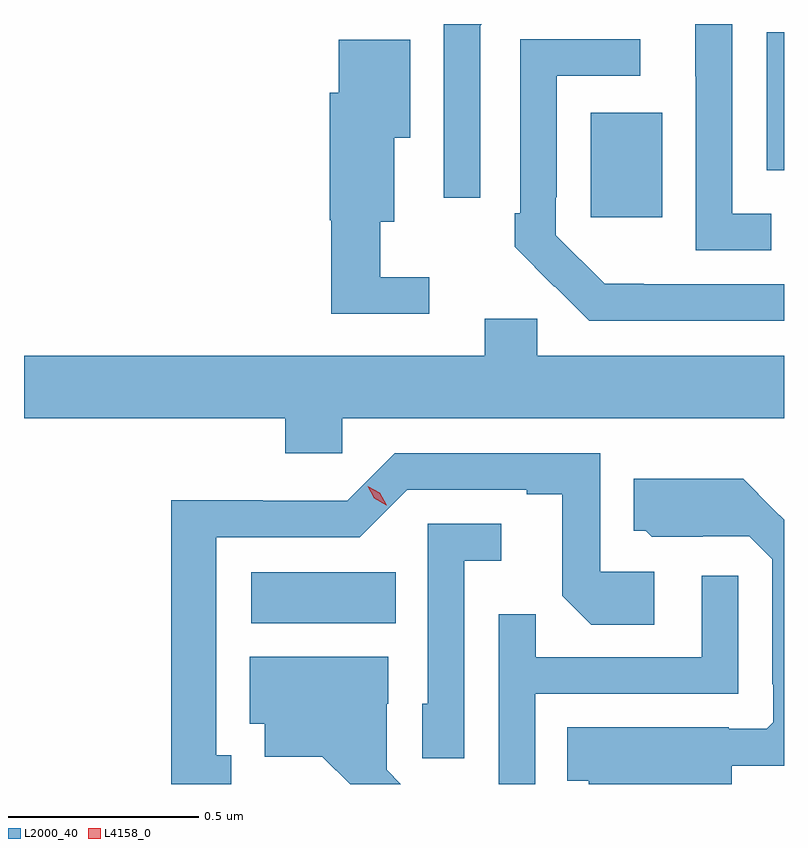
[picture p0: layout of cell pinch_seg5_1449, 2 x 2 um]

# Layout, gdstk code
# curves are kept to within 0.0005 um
import gdstk
lib = gdstk.Library(unit=1e-6, precision=1e-09)
def R(c, l, rs):  # rectangles x0, y0, x1, y1
    for r in rs: c.add(gdstk.rectangle(r[:2], r[2:], *l))
def P(c, l, *ps):  # polygons
    for p in ps: c.add(gdstk.Polygon(p, *l))
L2000_40 = (2000, 40)
L4158_0 = (4158, 0)

pinch_seg5_1449 = lib.new_cell('pinch_seg5_1449')
R(pinch_seg5_1449, L2000_40, [(147.366,904.172,147.746,904.306), (148.259,905.241,148.447,905.515)])
P(pinch_seg5_1449, L2000_40, [(147.969,905.745),(147.973,905.749),(147.873,905.749),(147.873,905.292),(147.969,905.292)],
  [(148.735,905.25),(148.632,905.25),(148.632,905.749),(148.535,905.749),(148.535,905.611),(148.536,905.611),(148.536,905.154),(148.735,905.154)],
  [(148.768,905.727),(148.723,905.727),(148.723,905.618),(148.722,905.618),(148.722,905.364),(148.768,905.364)],
  [(148.768,905.064),(148.399,905.064),(148.399,905.065),(148.296,905.065),(148.167,905.193),(148.167,905.293),(148.17,905.293),(148.17,905.613),(148.39,905.613),(148.39,905.709),(148.074,905.709),(148.074,905.251),(148.059,905.251),(148.059,905.163),(148.164,905.058),(148.165,905.059),(148.256,904.968),(148.768,904.968)],
  [(147.835,905.083),(147.706,905.083),(147.706,905.228),(147.742,905.228),(147.742,905.45),(147.784,905.45),(147.784,905.707),(147.596,905.707),(147.596,905.568),(147.572,905.568),(147.572,905.232),(147.577,905.232),(147.577,904.986),(147.835,904.986)],
  [(147.606,904.712),(148.768,904.712),(148.768,904.876),(148.119,904.876),(148.119,904.974),(147.98,904.974),(147.98,904.876),(146.768,904.876),(146.768,904.712),(147.455,904.712),(147.455,904.619),(147.606,904.619)],
  [(147.313,903.825),(147.274,903.825),(147.274,904.398),(147.651,904.398),(147.777,904.524),(148.091,904.524),(148.091,904.512),(148.185,904.512),(148.185,904.244),(148.261,904.168),(148.426,904.168),(148.426,904.308),(148.284,904.308),(148.284,904.62),(147.744,904.62),(147.618,904.494),(147.396,904.494),(147.396,904.496),(147.156,904.496),(147.156,903.749),(147.313,903.749)],
  [(148.63,903.797),(148.768,903.797),(148.768,904.444),(148.661,904.552),(148.373,904.552),(148.373,904.416),(148.404,904.416),(148.42,904.4),(148.554,904.4),(148.554,904.401),(148.677,904.401),(148.737,904.341),(148.737,904.012),(148.74,904.012),(148.74,903.912),(148.722,903.894),(148.622,903.894),(148.622,903.898),(148.198,903.898),(148.198,903.758),(148.254,903.758),(148.254,903.749),(148.63,903.749)],
  [(147.927,904.337),(148.024,904.337),(148.024,904.434),(147.831,904.434),(147.831,903.96),(147.816,903.96),(147.816,903.817),(147.927,903.817)],
  [(148.113,903.987),(148.647,903.987),(148.647,904.297),(148.551,904.297),(148.551,904.083),(148.115,904.083),(148.115,904.196),(148.017,904.196),(148.017,903.749),(148.113,903.749)],
  [(147.723,903.786),(147.723,903.96),(147.727,903.96),(147.727,904.084),(147.362,904.084),(147.362,903.908),(147.401,903.908),(147.401,903.821),(147.553,903.821),(147.626,903.749),(147.76,903.749)])
P(pinch_seg5_1449, L4158_0, [(147.721,904.482),(147.69,904.501),(147.672,904.533),(147.672,904.533),(147.672,904.533),(147.704,904.515),(147.722,904.482),(147.722,904.482)])

lib.write_gds('pinch_seg5_1449.gds')
